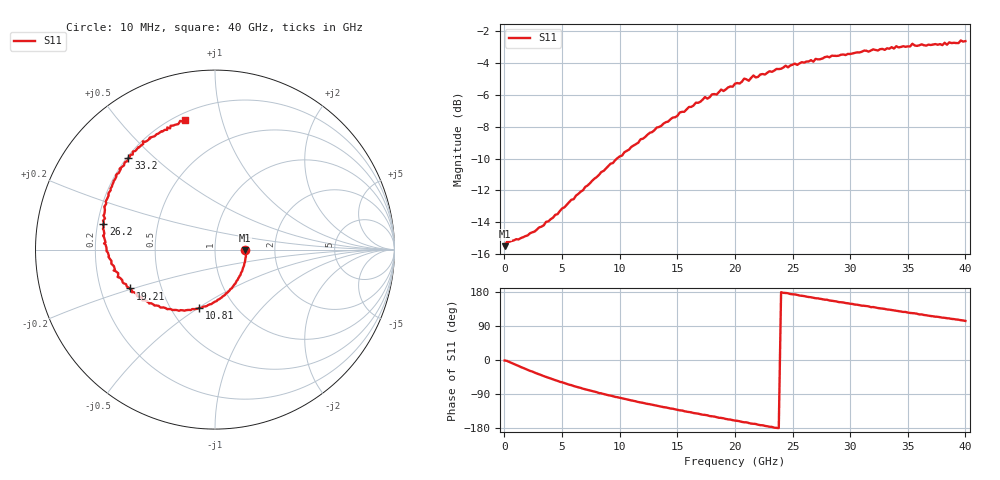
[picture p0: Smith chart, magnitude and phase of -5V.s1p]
!Agilent Technologies,N5227A,US51270434,A.10.00.00
!Agilent N5227A: A.10.00.00
!Date: Monday, January 26, 2026 17:30:56
!Correction: S11(Full 1 Port(1))
!S1P File: Measurement: S11:
# Hz S  dB  R 50
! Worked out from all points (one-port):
!   201 points, 10 MHz to 40 GHz, reference 50 ohm
!   lowest |S11| = -15.5 dB at 10 MHz (marker M1), VSWR 1.40, Z = 70.2 - j0.551 ohm
!   |S11| at or under -10 dB: start of sweep to 9.756 GHz
!   S11 on the Smith chart (normalised r, x): 10 MHz: 1.40, -0.01; 10.81 GHz: 0.69, -0.50; 19.21 GHz: 0.33, -0.19; 26.2 GHz: 0.22, +0.11; 33.2 GHz: 0.21, +0.42; 40 GHz: 0.24, +0.76
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1e7  -15.50 -1.3
2.4094e9  -14.63 -30.4
5.00875e9  -13.13 -58.9
7.2082e9  -11.69 -78.6
1.00075e10  -9.86 -99.7
1.08073e10  -9.44 -105.4
1.32067e10  -8.05 -120.5
1.500625e10  -7.31 -131.6
1.740565e10  -6.14 -145.0
1.92052e10  -5.66 -155.5
2.0005e10  -5.29 -159.9
2.08048e10  -4.98 -164.4
2.12047e10  -5.11 -166.3
2.16046e10  -4.78 -168.3
2.500375e10  -4.10 173.3
2.620345e10  -3.91 167.3
2.8003e10  -3.59 158.9
3.00025e10  -3.43 148.5
3.100225e10  -3.29 143.4
3.16021e10  -3.29 141.6
3.180205e10  -3.21 139.5
3.2002e10  -3.14 139.8
3.32017e10  -3.07 133.4
3.500125e10  -2.95 125.2
3.540115e10  -2.79 123.6
3.6001e10  -2.89 120.2
3.620095e10  -2.83 120.3
4e10  -2.63 103.2
